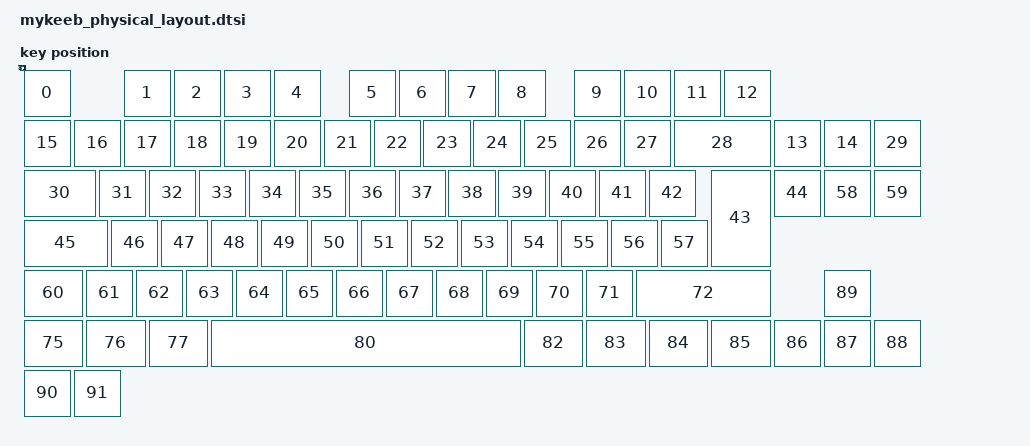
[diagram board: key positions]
#include <physical_layouts.dtsi>

/ {
    physical_layout: physical_layout {
        compatible = "zmk,physical-layout";
        display-name = "ISO TKL";
        kscan = <&kscan0>;
        transform = <&default_transform>;
        keys  //                     w   h    x    y     rot    rx    ry
            = <&key_physical_attrs 100 100    0    0       0     0     0>  // 0: ESC
            , <&key_physical_attrs 100 100  200    0       0     0     0>  // 1: F1
            , <&key_physical_attrs 100 100  300    0       0     0     0>  // 2: F2
            , <&key_physical_attrs 100 100  400    0       0     0     0>  // 3: F3
            , <&key_physical_attrs 100 100  500    0       0     0     0>  // 4: F4
            , <&key_physical_attrs 100 100  650    0       0     0     0>  // 5: F5
            , <&key_physical_attrs 100 100  750    0       0     0     0>  // 6: F6
            , <&key_physical_attrs 100 100  850    0       0     0     0>  // 7: F7
            , <&key_physical_attrs 100 100  950    0       0     0     0>  // 8: F8
            , <&key_physical_attrs 100 100 1100    0       0     0     0>  // 9: F9
            , <&key_physical_attrs 100 100 1200    0       0     0     0>  // 10: F10
            , <&key_physical_attrs 100 100 1300    0       0     0     0>  // 11: F11
            , <&key_physical_attrs 100 100 1400    0       0     0     0>  // 12: F12
            , <&key_physical_attrs 100 100 1500  100       0     0     0>  // 13: INS
            , <&key_physical_attrs 100 100 1600  100       0     0     0>  // 14: HOME
            , <&key_physical_attrs 100 100    0  100       0     0     0>  // 15: `
            , <&key_physical_attrs 100 100  100  100       0     0     0>  // 16: 1
            , <&key_physical_attrs 100 100  200  100       0     0     0>  // 17: 2
            , <&key_physical_attrs 100 100  300  100       0     0     0>  // 18: 3
            , <&key_physical_attrs 100 100  400  100       0     0     0>  // 19: 4
            , <&key_physical_attrs 100 100  500  100       0     0     0>  // 20: 5
            , <&key_physical_attrs 100 100  600  100       0     0     0>  // 21: 6
            , <&key_physical_attrs 100 100  700  100       0     0     0>  // 22: 7
            , <&key_physical_attrs 100 100  800  100       0     0     0>  // 23: 8
            , <&key_physical_attrs 100 100  900  100       0     0     0>  // 24: 9
            , <&key_physical_attrs 100 100 1000  100       0     0     0>  // 25: 0
            , <&key_physical_attrs 100 100 1100  100       0     0     0>  // 26: -
            , <&key_physical_attrs 100 100 1200  100       0     0     0>  // 27: =
            , <&key_physical_attrs 200 100 1300  100       0     0     0>  // 28: BSPC
            , <&key_physical_attrs 100 100 1700  100       0     0     0>  // 29: PGUP
            , <&key_physical_attrs 150 100    0  200       0     0     0>  // 30: TAB
            , <&key_physical_attrs 100 100  150  200       0     0     0>  // 31: Q
            , <&key_physical_attrs 100 100  250  200       0     0     0>  // 32: W
            , <&key_physical_attrs 100 100  350  200       0     0     0>  // 33: E
            , <&key_physical_attrs 100 100  450  200       0     0     0>  // 34: R
            , <&key_physical_attrs 100 100  550  200       0     0     0>  // 35: T
            , <&key_physical_attrs 100 100  650  200       0     0     0>  // 36: Y
            , <&key_physical_attrs 100 100  750  200       0     0     0>  // 37: U
            , <&key_physical_attrs 100 100  850  200       0     0     0>  // 38: I
            , <&key_physical_attrs 100 100  950  200       0     0     0>  // 39: O
            , <&key_physical_attrs 100 100 1050  200       0     0     0>  // 40: P
            , <&key_physical_attrs 100 100 1150  200       0     0     0>  // 41: [
            , <&key_physical_attrs 100 100 1250  200       0     0     0>  // 42: ]
            , <&key_physical_attrs 125 200 1375  200       0     0     0>  // 43: RET
            , <&key_physical_attrs 100 100 1500  200       0     0     0>  // 44: DEL
            , <&key_physical_attrs 175 100    0  300       0     0     0>  // 45: CAPS
            , <&key_physical_attrs 100 100  175  300       0     0     0>  // 46: A
            , <&key_physical_attrs 100 100  275  300       0     0     0>  // 47: S
            , <&key_physical_attrs 100 100  375  300       0     0     0>  // 48: D
            , <&key_physical_attrs 100 100  475  300       0     0     0>  // 49: F
            , <&key_physical_attrs 100 100  575  300       0     0     0>  // 50: G
            , <&key_physical_attrs 100 100  675  300       0     0     0>  // 51: H
            , <&key_physical_attrs 100 100  775  300       0     0     0>  // 52: J
            , <&key_physical_attrs 100 100  875  300       0     0     0>  // 53: K
            , <&key_physical_attrs 100 100  975  300       0     0     0>  // 54: L
            , <&key_physical_attrs 100 100 1075  300       0     0     0>  // 55: ;
            , <&key_physical_attrs 100 100 1175  300       0     0     0>  // 56: '
            , <&key_physical_attrs 100 100 1275  300       0     0     0>  // 57: NUHS
            , <&key_physical_attrs 100 100 1600  200       0     0     0>  // 58: END
            , <&key_physical_attrs 100 100 1700  200       0     0     0>  // 59: PGDN
            , <&key_physical_attrs 125 100    0  400       0     0     0>  // 60: LSHFT
            , <&key_physical_attrs 100 100  125  400       0     0     0>  // 61: NUBS
            , <&key_physical_attrs 100 100  225  400       0     0     0>  // 62: Z
            , <&key_physical_attrs 100 100  325  400       0     0     0>  // 63: X
            , <&key_physical_attrs 100 100  425  400       0     0     0>  // 64: C
            , <&key_physical_attrs 100 100  525  400       0     0     0>  // 65: V
            , <&key_physical_attrs 100 100  625  400       0     0     0>  // 66: B
            , <&key_physical_attrs 100 100  725  400       0     0     0>  // 67: N
            , <&key_physical_attrs 100 100  825  400       0     0     0>  // 68: M
            , <&key_physical_attrs 100 100  925  400       0     0     0>  // 69: ,
            , <&key_physical_attrs 100 100 1025  400       0     0     0>  // 70: .
            , <&key_physical_attrs 100 100 1125  400       0     0     0>  // 71: /
            , <&key_physical_attrs 275 100 1225  400       0     0     0>  // 72: RSHFT
            , <&key_physical_attrs   0   0    0    0       0     0     0>  // 73: none
            , <&key_physical_attrs   0   0    0    0       0     0     0>  // 74: none
            , <&key_physical_attrs 125 100    0  500       0     0     0>  // 75: LCTRL
            , <&key_physical_attrs 125 100  125  500       0     0     0>  // 76: LGUI
            , <&key_physical_attrs 125 100  250  500       0     0     0>  // 77: LALT
            , <&key_physical_attrs   0   0    0    0       0     0     0>  // 78: none
            , <&key_physical_attrs   0   0    0    0       0     0     0>  // 79: none
            , <&key_physical_attrs 625 100  375  500       0     0     0>  // 80: SPACE
            , <&key_physical_attrs   0   0    0    0       0     0     0>  // 81: none
            , <&key_physical_attrs 125 100 1000  500       0     0     0>  // 82: mo 1
            , <&key_physical_attrs 125 100 1125  500       0     0     0>  // 83: mo 2
            , <&key_physical_attrs 125 100 1250  500       0     0     0>  // 84: RCTRL
            , <&key_physical_attrs 125 100 1375  500       0     0     0>  // 85: RALT
            , <&key_physical_attrs 100 100 1500  500       0     0     0>  // 86: LEFT
            , <&key_physical_attrs 100 100 1600  500       0     0     0>  // 87: DOWN
            , <&key_physical_attrs 100 100 1700  500       0     0     0>  // 88: RIGHT
            , <&key_physical_attrs 100 100 1600  400       0     0     0>  // 89: UP
            , <&key_physical_attrs 100 100 0     600       0     0     0>  // 90: encoder 1 switch
            , <&key_physical_attrs 100 100 100   600       0     0     0>  // 91: encoder 2 switch
            ;
    };
};
